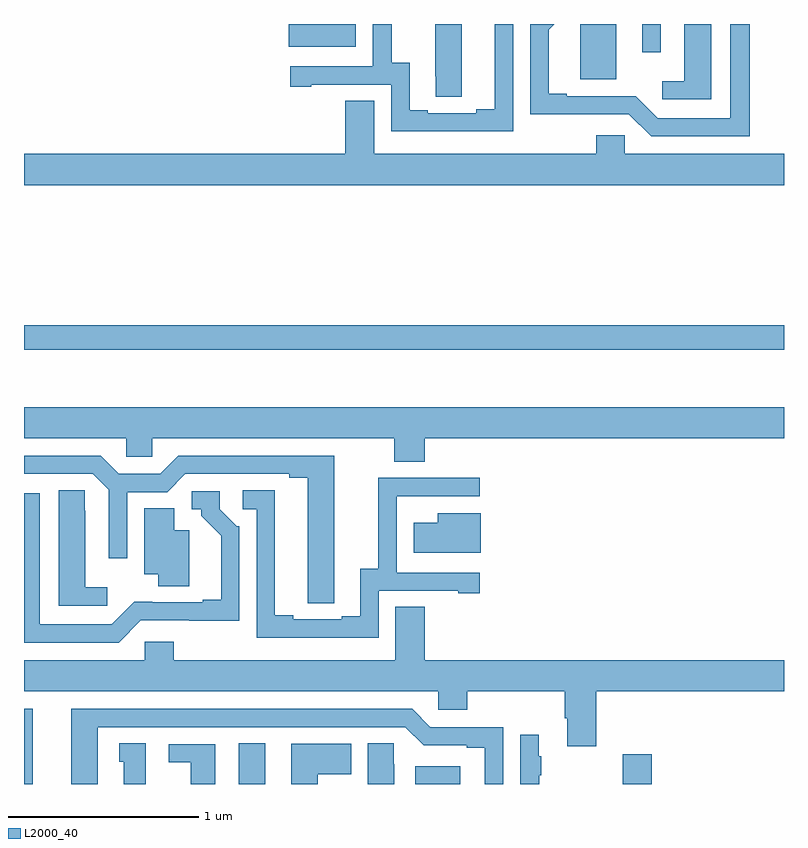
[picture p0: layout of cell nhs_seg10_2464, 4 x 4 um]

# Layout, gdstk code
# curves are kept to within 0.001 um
import gdstk
lib = gdstk.Library(unit=1e-6, precision=1e-09)
def R(c, l, rs):  # rectangles x0, y0, x1, y1
    for r in rs: c.add(gdstk.rectangle(r[:2], r[2:], *l))
def P(c, l, *ps):  # polygons
    for p in ps: c.add(gdstk.Polygon(p, *l))
L2000_40 = (2000, 40)

nhs_seg10_2464 = lib.new_cell('nhs_seg10_2464')
R(nhs_seg10_2464, L2000_40, [(243,1294.5,243.046,1294.896), (244.13,1294.5,244.27,1294.715), (245.06,1294.5,245.296,1294.594), (246.151,1294.5,246.305,1294.657), (243,1296.786,247,1296.914), (245.927,1298.21,246.118,1298.5), (246.254,1298.352,246.351,1298.5), (244.394,1298.381,244.747,1298.5)])
P(nhs_seg10_2464, L2000_40, [(246.82,1298.5),(246.716,1298.5),(246.716,1298.004),(246.336,1298.004),(246.219,1298.121),(245.857,1298.121),(245.857,1298.134),(245.761,1298.134),(245.761,1298.47),(245.791,1298.5),(245.664,1298.5),(245.664,1298.024),(246.183,1298.025),(246.3,1297.908),(246.82,1297.908)],
  [(246.616,1298.5),(246.476,1298.5),(246.476,1298.2),(246.36,1298.2),(246.36,1298.103),(246.616,1298.103)],
  [(245.574,1298.5),(245.477,1298.5),(245.477,1298.051),(245.381,1298.051),(245.381,1298.031),(245.125,1298.031),(245.125,1298.046),(245.029,1298.046),(245.029,1298.297),(244.935,1298.297),(244.935,1298.5),(244.836,1298.5),(244.836,1298.277),(244.401,1298.277),(244.401,1298.169),(244.513,1298.169),(244.513,1298.181),(244.932,1298.181),(244.932,1297.935),(245.574,1297.935)],
  [(245.305,1298.5),(245.165,1298.5),(245.165,1298.224),(245.166,1298.224),(245.166,1298.116),(245.305,1298.116)],
  [(247,1297.816),(246.162,1297.816),(246.162,1297.914),(246.011,1297.914),(246.011,1297.816),(244.843,1297.816),(244.843,1298.096),(244.691,1298.096),(244.691,1297.816),(243,1297.816),(243,1297.652),(247,1297.652)],
  [(245.108,1296.32),(247,1296.32),(247,1296.484),(243,1296.484),(243,1296.32),(243.537,1296.32),(243.537,1296.222),(243.675,1296.222),(243.675,1296.32),(244.948,1296.32),(244.948,1296.196),(245.108,1296.196)],
  [(244.632,1295.56),(244.633,1296.228),(243.813,1296.228),(243.717,1296.132),(243.499,1296.132),(243.403,1296.228),(243,1296.228),(243,1296.132),(243.363,1296.132),(243.447,1296.048),(243.447,1295.688),(243.543,1295.688),(243.543,1296.036),(243.753,1296.036),(243.849,1296.132),(244.397,1296.132),(244.397,1296.112),(244.493,1296.112),(244.493,1295.452),(244.632,1295.452)],
  [(244.866,1295.517),(245.285,1295.517),(245.285,1295.505),(245.398,1295.505),(245.398,1295.613),(244.962,1295.613),(244.962,1296.014),(244.964,1296.014),(244.964,1296.015),(245.398,1296.015),(245.398,1296.111),(244.864,1296.111),(244.864,1295.633),(244.769,1295.633),(244.769,1295.382),(244.673,1295.382),(244.673,1295.367),(244.417,1295.367),(244.417,1295.387),(244.321,1295.387),(244.321,1296.047),(244.152,1296.047),(244.152,1295.946),(244.224,1295.946),(244.224,1295.271),(244.866,1295.271)],
  [(243.439,1295.536),(243.322,1295.536),(243.322,1295.939),(243.321,1295.939),(243.321,1296.047),(243.182,1296.047),(243.182,1295.439),(243.439,1295.439)],
  [(243.615,1295.361),(244.134,1295.36),(244.134,1295.856),(244.119,1295.856),(244.029,1295.946),(244.029,1296.042),(243.882,1296.042),(243.882,1295.946),(243.932,1295.946),(243.932,1295.911),(244.037,1295.806),(244.037,1295.47),(243.941,1295.47),(243.941,1295.457),(243.58,1295.458),(243.462,1295.34),(243.082,1295.34),(243.082,1296.03),(243,1296.03),(243,1295.244),(243.498,1295.244)],
  [(243.871,1295.836),(243.79,1295.836),(243.79,1295.951),(243.632,1295.951),(243.632,1295.603),(243.707,1295.603),(243.707,1295.542),(243.871,1295.542)],
  [(245.404,1295.926),(245.177,1295.926),(245.177,1295.875),(245.052,1295.875),(245.052,1295.717),(245.404,1295.717)],
  [(246.011,1294.988),(247,1294.988),(247,1295.152),(245.108,1295.152),(245.108,1295.432),(244.955,1295.432),(244.955,1295.152),(243.788,1295.152),(243.788,1295.25),(243.636,1295.25),(243.636,1295.152),(243,1295.152),(243,1294.988),(245.181,1294.988),(245.181,1294.89),(245.333,1294.89),(245.333,1294.988),(245.846,1294.988),(245.846,1294.846),(245.858,1294.846),(245.858,1294.698),(246.011,1294.698)],
  [(243.388,1294.8),(245.007,1294.8),(245.103,1294.704),(245.33,1294.704),(245.33,1294.692),(245.426,1294.692),(245.426,1294.5),(245.523,1294.5),(245.523,1294.8),(245.139,1294.8),(245.043,1294.896),(243.248,1294.896),(243.248,1294.5),(243.388,1294.5)],
  [(245.711,1294.546),(245.722,1294.546),(245.722,1294.646),(245.71,1294.646),(245.71,1294.759),(245.613,1294.759),(245.613,1294.5),(245.711,1294.5)],
  [(243.64,1294.715),(243.5,1294.715),(243.5,1294.617),(243.524,1294.617),(243.524,1294.5),(243.64,1294.5)],
  [(244.948,1294.604),(244.947,1294.604),(244.947,1294.715),(244.808,1294.715),(244.808,1294.5),(244.948,1294.5)],
  [(244.546,1294.552),(244.723,1294.552),(244.723,1294.711),(244.406,1294.711),(244.406,1294.5),(244.546,1294.5)],
  [(244.006,1294.71),(243.762,1294.71),(243.762,1294.614),(243.878,1294.614),(243.878,1294.5),(244.006,1294.5)])

lib.write_gds('nhs_seg10_2464.gds')
